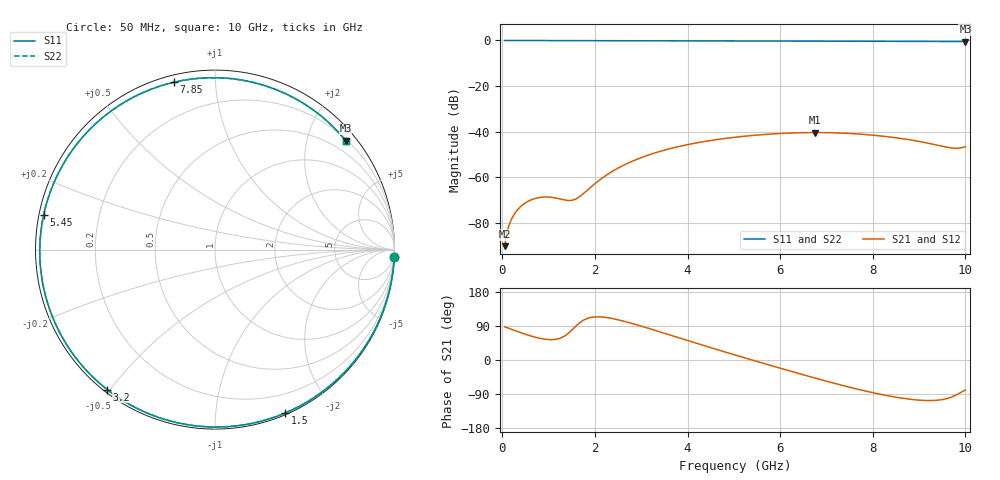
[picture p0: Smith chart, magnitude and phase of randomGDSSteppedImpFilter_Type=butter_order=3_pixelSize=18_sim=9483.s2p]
! freq	dB(S11)	phase(S11)	dB(S12)	phase(S12)
!  dB(S21)	phase(S21)	dB(S22)	phase(S22)
!S-par simulation data
#  GHz  S  DB  R 50
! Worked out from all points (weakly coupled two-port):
!   200 points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, 50 MHz to 10 GHz, reference 50 ohm
!   highest |S21| = -40.34 dB at 6.75 GHz (marker M1); lowest = -90.1 dB at 50 MHz (marker M2)
!   lowest |S11| = -0.5 dB at 10 GHz (marker M3), VSWR 37.08, Z = 11.5 + j137 ohm
!   |S11| at or under -10 dB: nowhere
!   |S22| runs from -0.5 to 0.0 dB; largest |S21 - S12| = 0
!   S11 on the Smith chart (normalised r, x): 50 MHz: 0, -49; 1.5 GHz: 0.02, -1.52; 3.2 GHz: 0.01, -0.49; 5.45 GHz: 0.01, +0.10; 7.85 GHz: 0.03, +0.78; 10 GHz: 0.23, +2.74
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0.05  -0.00 -2.4  -90.10 87.7  -90.10 87.7  -0.00 -2.4
0.15  -0.01 -7.0  -80.64 83.1  -80.64 83.1  -0.01 -7.0
0.35  -0.02 -16.3  -73.69 74.2  -73.69 74.2  -0.02 -16.3
0.65  -0.04 -30.0  -69.60 62.3  -69.60 62.3  -0.04 -30.0
0.95  -0.06 -43.3  -68.55 54.4  -68.55 54.4  -0.06 -43.3
1.5  -0.08 -66.7  -70.02 78.7  -70.02 78.7  -0.08 -66.7
1.75  -0.09 -76.7  -67.11 104.8  -67.11 104.8  -0.09 -76.7
2.1  -0.10 -90.0  -61.12 113.9  -61.12 113.9  -0.10 -90.0
2.4  -0.11 -100.9  -57.05 108.9  -57.05 108.9  -0.11 -100.9
3.2  -0.14 -127.6  -49.88 82.0  -49.88 82.0  -0.14 -127.6
3.4  -0.14 -133.8  -48.62 74.4  -48.62 74.4  -0.14 -133.8
4.2  -0.17 -157.3  -44.84 43.9  -44.84 43.9  -0.17 -157.3
5.05  -0.21 179.4  -42.33 12.3  -42.33 12.3  -0.21 179.4
5.45  -0.23 168.7  -41.53 -2.1  -41.53 -2.1  -0.23 168.7
6.05  -0.26 152.8  -40.71 -23.3  -40.71 -23.3  -0.26 152.8
6.7  -0.29 135.4  -40.34 -45.9  -40.34 -45.9  -0.29 135.4
6.75  -0.29 134.1  -40.34 -47.6  -40.34 -47.6  -0.30 134.1
7.85  -0.35 103.7  -41.22 -82.1  -41.22 -82.1  -0.35 103.7
8.35  -0.38 89.3  -42.24 -94.9  -42.24 -94.9  -0.38 89.3
9.15  -0.42 65.7  -44.81 -106.9  -44.81 -106.9  -0.42 65.6
9.75  -0.45 47.5  -47.18 -95.3  -47.18 -95.3  -0.45 47.4
10  -0.47 39.9  -46.51 -78.8  -46.51 -78.8  -0.47 39.8
